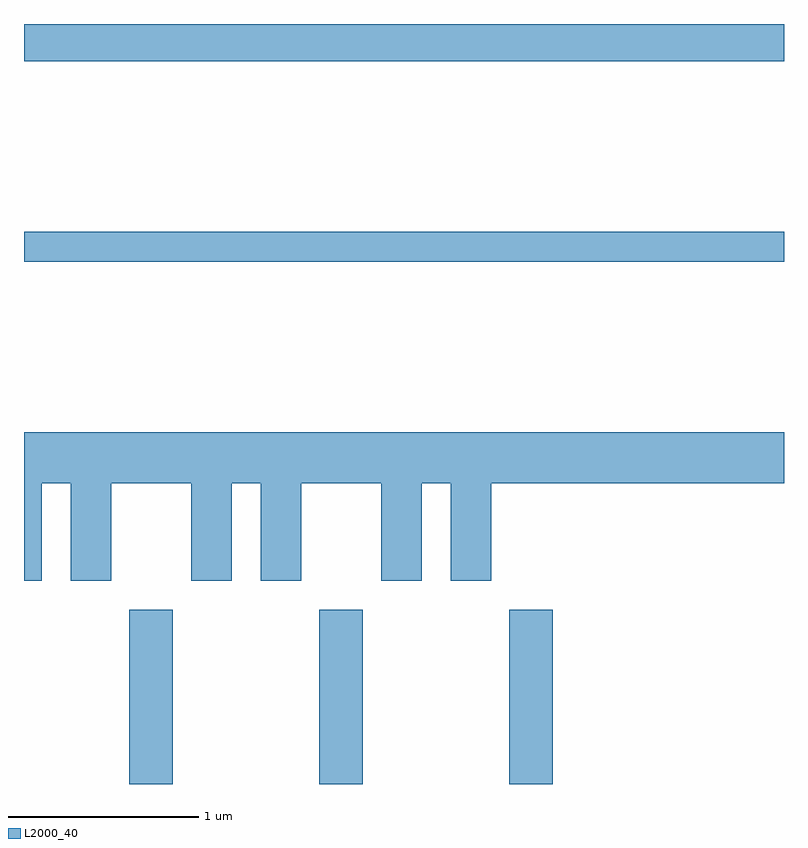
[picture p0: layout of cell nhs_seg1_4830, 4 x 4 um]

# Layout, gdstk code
import gdstk
lib = gdstk.Library(unit=1e-6, precision=1e-09)
def R(c, l, rs):  # rectangles x0, y0, x1, y1
    for r in rs: c.add(gdstk.rectangle(r[:2], r[2:], *l))
def A(c, l, x, y, w, h, nx, ny, dx, dy):  # array of equal rectangles
    R(c, l, [(x+i*dx, y+j*dy, x+i*dx+w, y+j*dy+h) for i in range(nx) for j in range(ny)])
def P(c, l, *ps):  # polygons
    for p in ps: c.add(gdstk.Polygon(p, *l))
L2000_40 = (2000, 40)

nhs_seg1_4830 = lib.new_cell('nhs_seg1_4830')
A(nhs_seg1_4830, L2000_40, 330.166, 955.712, 0.228, 0.917, 3, 1, 1, 0)
R(nhs_seg1_4830, L2000_40, [(329.611,958.461,333.611,958.619), (329.611,959.516,333.611,959.712)])
P(nhs_seg1_4830, L2000_40, [(329.611,956.781),(329.704,956.781),(329.704,957.296),(329.856,957.296),(329.856,956.781),(330.069,956.781),(330.069,957.296),(330.491,957.296),(330.491,956.781),(330.704,956.781),(330.704,957.296),(330.856,957.296),(330.856,956.781),(331.069,956.781),(331.069,957.296),(331.491,957.296),(331.491,956.781),(331.704,956.781),(331.704,957.296),(331.856,957.296),(331.856,956.781),(332.069,956.781),(332.069,957.296),(333.611,957.296),(333.611,957.564),(329.611,957.564)])

lib.write_gds('nhs_seg1_4830.gds')
